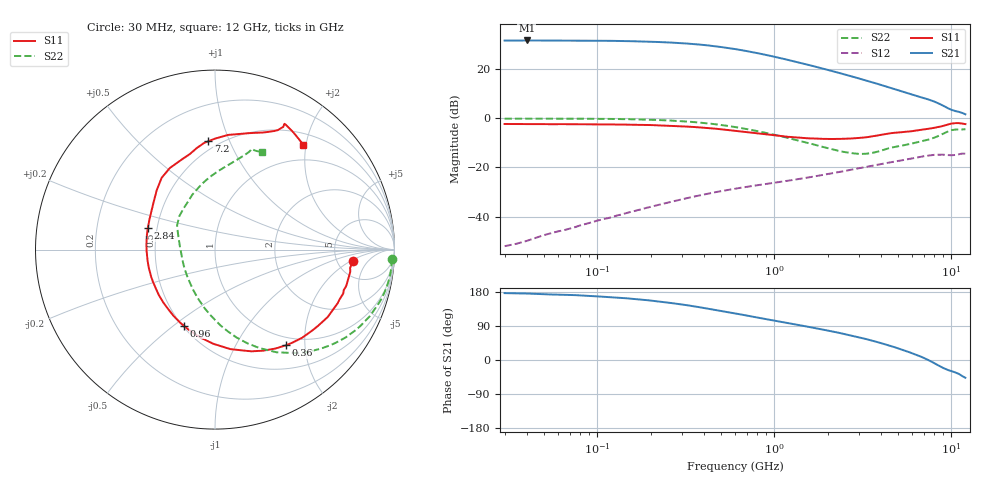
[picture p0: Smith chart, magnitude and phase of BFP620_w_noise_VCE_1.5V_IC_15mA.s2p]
! Infineon Technologies  Discrete & RF Semiconductors
! BFP620
! VCE =  1.5 V,  IC =  15 mA
! Common Emitter S-Parameters:  Nov 2015
# GHz  S  MA  R  50
!  f  S11  S21  S12  S22
! GHz  MAG  ANG  MAG  ANG  MAG  ANG  MAG  ANG
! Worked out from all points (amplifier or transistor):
!   239 points, 30 MHz to 12 GHz, reference 50 ohm
!   highest |S21| = 31.7 dB at 40 MHz (marker M1)
!   |S21| within 3 dB of that: start of sweep to 539.5 MHz
!   unconditionally stable (mu >= 1): 3.418 GHz to end of sweep
!   at 300 MHz: K = 0.20, MSG = 31.8 dB, |S12| = -33.0 dB
!   at 1.88 GHz: K = 0.84, MSG = 21.7 dB, |S12| = -23.0 dB
!   at 12 GHz: K = 1.11, MAG = 6.0 dB, |S12| = -14.4 dB
!   lowest NFmin = 0.85 dB at 450 MHz
!   S11 on the Smith chart (normalised r, x): 30 MHz: 7.01, -2.12; 360 MHz: 0.86, -1.64; 960 MHz: 0.51, -0.54; 2.84 GHz: 0.44, +0.13; 7.2 GHz: 0.44, +0.84; 12 GHz: 0.69, +1.95
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0.03  0.769 -4.6  38.44 176.5  0.0025 87.5  0.9861 -3.1
0.04  0.7646 -6.5  38.6 175.4  0.0032 86.7  0.9871 -4.3
0.05  0.7595 -7.7  38.5 173.3  0.0042 85.9  0.9875 -5.5
0.07  0.7614 -11.0  38.51 171.9  0.0057 85.2  0.9862 -8.0
0.085  0.7592 -13.3  38.27 169.9  0.007 85.1  0.9838 -9.8
0.11  0.752 -17.4  38.14 166.7  0.009 82.0  0.9771 -12.9
0.15  0.7461 -23.5  37.42 162.4  0.0121 79.0  0.963 -17.6
0.2  0.7318 -30.9  36.44 156.9  0.0158 75.8  0.9388 -23.3
0.24  0.7134 -36.8  35.48 152.6  0.0186 73.1  0.9151 -27.7
0.3  0.6903 -45.4  34.01 146.5  0.0225 69.6  0.8773 -33.9
0.36  0.6639 -53.4  32.36 140.9  0.026 66.5  0.8346 -39.7
0.45  0.6236 -64.6  29.79 133.3  0.0307 62.4  0.7703 -47.7
0.6  0.5612 -81.2  25.81 122.8  0.037 57.1  0.6676 -59.0
0.8  0.4956 -99.8  21.35 112.0  0.0435 52.7  0.5517 -71.0
0.96  0.4582 -112.3  18.61 105.5  0.0478 50.4  0.48 -78.8
1.2  0.4211 -128.6  15.45 97.1  0.0539 48.1  0.3972 -89.2
1.64  0.3895 -152.6  11.73 85.6  0.0647 45.1  0.2993 -106.5
2  0.3812 -169.1  9.731 77.7  0.0732 42.6  0.2471 -121.3
2.84  0.3933 162.0  6.889 62.5  0.0929 36.6  0.1929 -157.0
4.5  0.4981 126.7  4.213 37.3  0.1269 22.3  0.2506 147.4
7.2  0.6045 93.6  2.508 2.7  0.1722 -2.5  0.3593 104.4
12  0.7643 50.0  1.212 -46.9  0.1908 -42.4  0.6022 64.5
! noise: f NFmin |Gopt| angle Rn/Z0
0.45  0.85  0.11  -3  0.11
0.9  0.85  0.07  6  0.1
1.9  0.86  0.04  18  0.1
2.4  0.9  0.06  -137  0.1
3.5  0.93  0.11  -97  0.13
5.5  1.22  0.13  -90  0.15
10  1.67  0.6  -49  0.75
